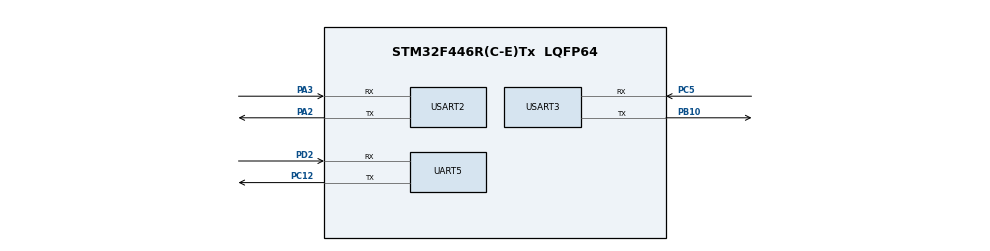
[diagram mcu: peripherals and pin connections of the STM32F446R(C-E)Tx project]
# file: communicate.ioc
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Mcu.Family=STM32F4
Mcu.Name=STM32F446R(C-E)Tx
Mcu.Package=LQFP64
NVIC.PriorityGroup=NVIC_PRIORITYGROUP_4
NVIC.UART5_IRQn=true\:0\:0\:false\:false\:true\:true\:true\:true
NVIC.USART3_IRQn=true\:0\:0\:false\:false\:true\:true\:true\:true
PA2.Mode=Asynchronous
PA2.Signal=USART2_TX
PA3.Mode=Asynchronous
PA3.Signal=USART2_RX
PB10.Mode=Asynchronous
PB10.Signal=USART3_TX
PC12.Mode=Asynchronous
PC12.Signal=UART5_TX
PC5.Mode=Asynchronous
PC5.Signal=USART3_RX
PD2.Mode=Asynchronous
PD2.Signal=UART5_RX
ProjectManager.HeapSize=0x200
ProjectManager.StackSize=0x400
ProjectManager.TargetToolchain=STM32CubeIDE
RCC.CortexFreq_Value=16000000
RCC.USBFreq_Value=96000000
RCC.VCOOutputFreq_Value=192000000
UART5.VirtualMode=Asynchronous
USART2.VirtualMode=VM_ASYNC
USART3.VirtualMode=VM_ASYNC
board=custom

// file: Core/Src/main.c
/* USER CODE BEGIN Header */
/**
  ******************************************************************************
  * @file           : main.c
  * @brief          : Main program body
  ******************************************************************************
  * @attention
  *
  * Copyright (c) 2025 STMicroelectronics.
  * All rights reserved.
  *
  * This software is licensed under terms that can be found in the LICENSE file
  * in the root directory of this software component.
  * If no LICENSE file comes with this software, it is provided AS-IS.
  *
  ******************************************************************************
  */
/* USER CODE END Header */
#include "main.h"
#include "usart.h"
#include "gpio.h"

/* USER CODE BEGIN Includes */
#include "ps4_parser.h"
#include "stm32f4xx_it.h"
#include "ROS2STM.h"
#include <stdio.h>
/* USER CODE END Includes */

void SystemClock_Config(void);

int main(void)
{

  /* USER CODE BEGIN 1 */
  LL_APB1_GRP1_EnableClock(LL_APB1_GRP1_PERIPH_USART3);
  LL_APB2_GRP1_EnableClock(LL_APB2_GRP1_PERIPH_SYSCFG);
  LL_APB1_GRP1_EnableClock(LL_APB1_GRP1_PERIPH_PWR);
//  LL_GPIO_InitTypeDef GPIO_InitStruct = {0};
  /* USER CODE END 1 */

  /* MCU Configuration--------------------------------------------------------*/

  /* Reset of all peripherals, Initializes the Flash interface and the Systick. */
  LL_APB2_GRP1_EnableClock(LL_APB2_GRP1_PERIPH_SYSCFG);
  LL_APB1_GRP1_EnableClock(LL_APB1_GRP1_PERIPH_PWR);

  /* System interrupt init*/
  NVIC_SetPriorityGrouping(NVIC_PRIORITYGROUP_4);

  /* SysTick_IRQn interrupt configuration */
  NVIC_SetPriority(SysTick_IRQn, NVIC_EncodePriority(NVIC_GetPriorityGrouping(),15, 0));

  /* Configure the system clock */
  SystemClock_Config();

  /* Initialize all configured peripherals */
  MX_GPIO_Init();
  MX_USART3_UART_Init();
  MX_UART5_Init();
  MX_USART2_UART_Init();
  /* USER CODE BEGIN 2 */
  LL_USART_EnableIT_RXNE(USART3);
  LL_USART_Enable(USART3);
  LL_USART_EnableIT_RXNE(UART5);
  LL_USART_Enable(UART5);
  NVIC_SetPriority(USART3_IRQn, 0);
  NVIC_EnableIRQ(USART3_IRQn);
  NVIC_SetPriority(UART5_IRQn, 0);
  NVIC_EnableIRQ(UART5_IRQn);
  printf ("start\r\n");
  /* USER CODE END 2 */

  /* Infinite loop */
  while (1)
  {

    /* USER CODE BEGIN 3 */
	loop_check_uart5(uart5_rx_buffer, &uart5_packet_ready);
	 if (data_ready)
	  {
		LL_mDelay(5000);
		data_ready = 0;
		printf("interrupt\r\n");
	    parse_and_control((char *)rx_buffer);  // 呼叫解析與控制函數
	  }
  }
  /* USER CODE END 3 */
}

void SystemClock_Config(void)
{
  LL_FLASH_SetLatency(LL_FLASH_LATENCY_0);
  while(LL_FLASH_GetLatency()!= LL_FLASH_LATENCY_0)
  {
  }
  LL_PWR_SetRegulVoltageScaling(LL_PWR_REGU_VOLTAGE_SCALE3);
  LL_PWR_DisableOverDriveMode();
  LL_RCC_HSI_SetCalibTrimming(16);
  LL_RCC_HSI_Enable();

   /* Wait till HSI is ready */
  while(LL_RCC_HSI_IsReady() != 1)
  {

  }
  LL_RCC_SetAHBPrescaler(LL_RCC_SYSCLK_DIV_1);
  LL_RCC_SetAPB1Prescaler(LL_RCC_APB1_DIV_1);
  LL_RCC_SetAPB2Prescaler(LL_RCC_APB2_DIV_1);
  LL_RCC_SetSysClkSource(LL_RCC_SYS_CLKSOURCE_HSI);

   /* Wait till System clock is ready */
  while(LL_RCC_GetSysClkSource() != LL_RCC_SYS_CLKSOURCE_STATUS_HSI)
  {

  }
  LL_Init1msTick(16000000);
  LL_SetSystemCoreClock(16000000);
  LL_RCC_SetTIMPrescaler(LL_RCC_TIM_PRESCALER_TWICE);
}

void Error_Handler(void)
{
  __disable_irq();
  while (1)
  {
  }
}
